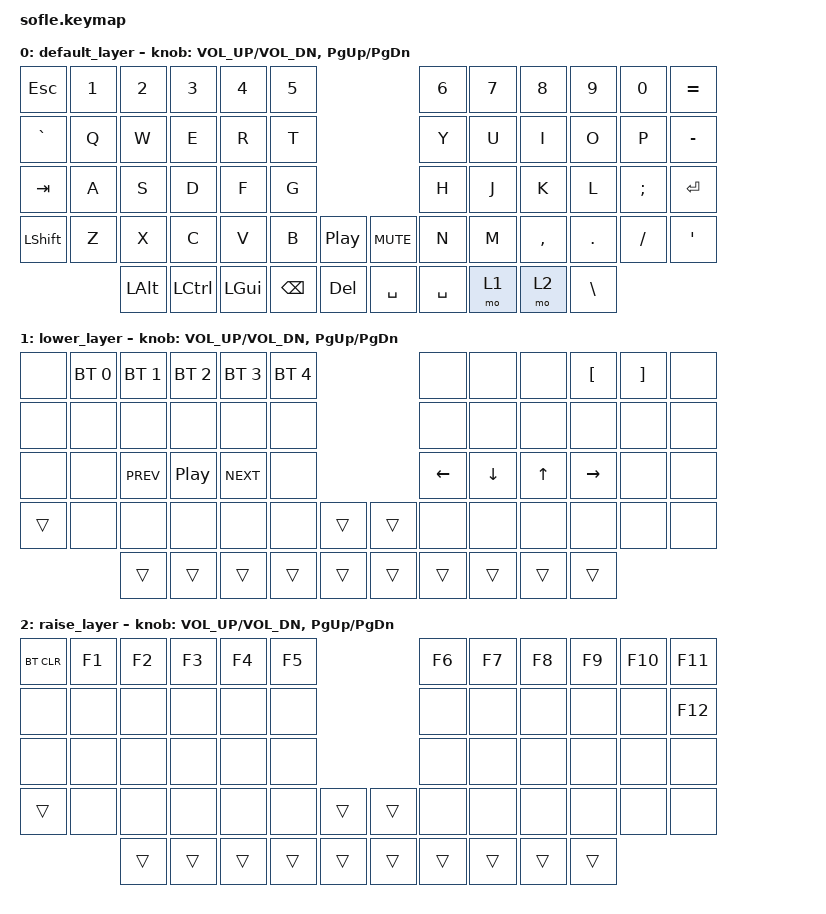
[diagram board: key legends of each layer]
/*
 * Copyright (c) 2020 The ZMK Contributors
 *
 * SPDX-License-Identifier: MIT
 */

#include <behaviors.dtsi>
#include <dt-bindings/zmk/keys.h>
#include <dt-bindings/zmk/bt.h>

/ {
    keymap {
        compatible = "zmk,keymap";

        default_layer {
// ------------------------------------------------------------------------------------------------------------
// |  ESC  |  1  |  2  |  3   |  4   |  5   |                   |  6   |  7    |  8    |  9   |   0   |  +/=  |
// |  `    |  Q  |  W  |  E   |  R   |  T   |                   |  Y   |  U    |  I    |  O   |   P   | DASH  |
// |  TAB  |  A  |  S  |  D   |  F   |  G   |                   |  H   |  J    |  K    |  L   |   ;   | ENTER |
// | SHIFT |  Z  |  X  |  C   |  V   |  B   |PLAY/PAU|  | MUTE  |  N   |  M    |  ,    |  .   |   /   | "/'   |
//               | ALT | CTRL | GUI  | BKSPC|   DEL  |  | SPACE | SPACE| LOWER | RAISE | \ |  |
            bindings = <
&kp ESC   &kp N1 &kp N2   &kp N3   &kp N4    &kp N5                                &kp N6 &kp N7    &kp N8    &kp N9   &kp N0   &kp EQUAL
&kp GRAVE &kp Q  &kp W    &kp E    &kp R     &kp T                                 &kp Y  &kp U     &kp I     &kp O    &kp P    &kp MINUS
&kp TAB   &kp A  &kp S    &kp D    &kp F     &kp G                                 &kp H  &kp J     &kp K     &kp L    &kp SEMI &kp RET
&kp LSHFT &kp Z  &kp X    &kp C    &kp V     &kp B    &kp C_PLAY_PAUSE &kp C_MUTE  &kp N  &kp M     &kp COMMA &kp DOT  &kp FSLH &kp SQT
                 &kp LALT &kp LCTRL &kp LGUI &kp BSPC &kp DEL          &kp SPACE   &kp SPACE  &mo 1 &mo 2  &kp BACKSLASH
            >;

            sensor-bindings = <&inc_dec_kp C_VOL_UP C_VOL_DN &inc_dec_kp PG_UP PG_DN>;
        };

        lower_layer {
// TODO: Some binds are waiting for shifted keycode support.
// ------------------------------------------------------------------------------------------------------------
// |        | BT1 | BT2 | BT3  |  BT4 |  BT5 |                   |      |       |       |  [   |   ]   |       |
// |       |     |     |      |      |      |                   |      |       |       |      |       |       |
// |       |     | PRE |PL/PAU| NEXT |      |                   | LEFT | DOWN  |  UP   | RIGHT|       |       |
// |       |     |     |      |      |      | TRANS  |  | TRANS |      |       |       |      |       |       |
//               |TRANS|TRANS | TRANS| TRANS| TRANS  |  | TRANS |TRANS | TRANS | TRANS | TRANS|
            bindings = <
&none &bt BT_SEL 0 &bt BT_SEL 1 &bt BT_SEL 2 &bt BT_SEL 3 &bt BT_SEL 4   &none     &none    &none           &kp LBKT  &kp RBKT  &none
&none     &none     &none     &none       &none      &none                     &none     &none    &none           &none     &none     &none
&none     &none     &kp C_PREV     &kp C_PLAY_PAUSE       &kp C_NEXT &none                     &kp LEFT &kp DOWN  &kp UP          &kp RIGHT &none     &none
&trans     &none     &none     &none       &none      &none   &trans               &trans &none     &none    &none           &none     &none     &none
                    &trans    &trans      &trans     &trans    &trans   &trans &trans    &trans   &trans          &trans
            >;

            sensor-bindings = <&inc_dec_kp C_VOL_UP C_VOL_DN &inc_dec_kp PG_UP PG_DN>;
        };

        raise_layer {
// ------------------------------------------------------------------------------------------------------------
// |BTCLR| F1   | F2   |  F3   |   F4  |  F5  |                | F6   |  F7  |  F8   |  F9  |  F10  |  F11  |
// |     |      |      |       |       |      |                |      |      |       |      |       |  F12  |
// |     |      |      |       |       |      |                |      |      |       |      |       |       |
// |     |      |      |       |       |      |      |  |      |      |      |       |      |       |       |
//              |      |       |       |      |      |  |      |      |      |       |      |
            bindings = <
&bt BT_CLR   &kp F1    &kp F2    &kp F3      &kp F4    &kp F5                    &kp F6    &kp F7   &kp F8          &kp F9    &kp F10   &kp F11
&none     &none     &none     &none       &none      &none                     &none     &none    &none           &none     &none     &kp F12
&none     &none     &none     &none       &none      &none                     &none     &none    &none           &none     &none     &none
&trans     &none     &none     &none       &none      &none   &trans     &trans &none     &none    &none           &none     &none     &none
                    &trans    &trans      &trans     &trans    &trans   &trans &trans    &trans   &trans          &trans
            >;

            sensor-bindings = <&inc_dec_kp C_VOL_UP C_VOL_DN &inc_dec_kp PG_UP PG_DN>;
        };
    };
};
